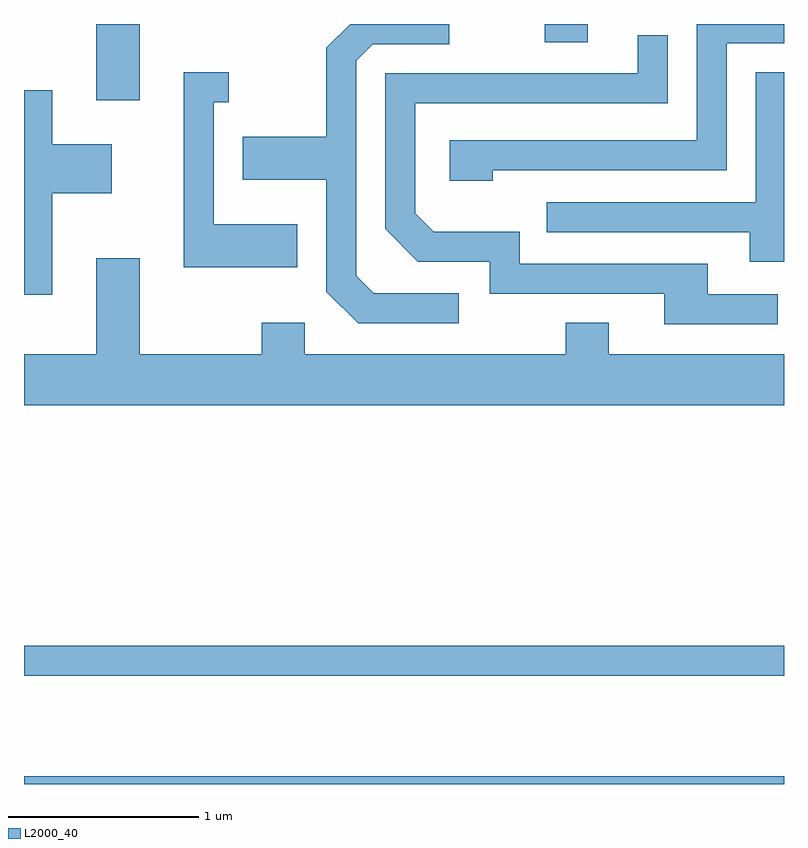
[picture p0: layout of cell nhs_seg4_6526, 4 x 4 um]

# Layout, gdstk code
import gdstk
lib = gdstk.Library(unit=1e-6, precision=1e-09)
def R(c, l, rs):  # rectangles x0, y0, x1, y1
    for r in rs: c.add(gdstk.rectangle(r[:2], r[2:], *l))
def P(c, l, *ps):  # polygons
    for p in ps: c.add(gdstk.Polygon(p, *l))
L2000_40 = (2000, 40)

nhs_seg4_6526 = lib.new_cell('nhs_seg4_6526')
R(nhs_seg4_6526, L2000_40, [(375.611,1385.982,379.611,1386.024), (375.611,1386.551,379.611,1386.709), (375.991,1389.581,376.219,1389.982), (378.351,1389.886,378.579,1389.982)])
P(nhs_seg4_6526, L2000_40, [(377.898,1388.564),(377.452,1388.564),(377.359,1388.657),(377.359,1389.789),(377.447,1389.876),(377.848,1389.876),(377.848,1389.982),(377.327,1389.982),(377.201,1389.857),(377.201,1389.389),(376.761,1389.389),(376.761,1389.161),(377.201,1389.161),(377.201,1388.574),(377.369,1388.406),(377.898,1388.406)],
  [(378.079,1389.211),(379.309,1389.211),(379.309,1389.881),(379.611,1389.881),(379.611,1389.982),(379.151,1389.982),(379.151,1389.369),(377.851,1389.369),(377.851,1389.156),(378.079,1389.156)],
  [(379.578,1388.559),(379.209,1388.559),(379.209,1388.719),(378.219,1388.719),(378.219,1388.889),(377.767,1388.889),(377.669,1388.987),(377.669,1389.566),(378.999,1389.566),(378.999,1389.923),(378.841,1389.923),(378.841,1389.724),(377.511,1389.724),(377.511,1388.904),(377.684,1388.731),(378.061,1388.731),(378.061,1388.561),(378.981,1388.561),(378.981,1388.401),(379.578,1388.401)],
  [(379.611,1389.729),(379.461,1389.729),(379.461,1389.044),(378.363,1389.044),(378.363,1388.886),(379.431,1388.886),(379.431,1388.731),(379.611,1388.731)],
  [(377.049,1388.929),(376.609,1388.929),(376.609,1389.571),(376.688,1389.571),(376.688,1389.729),(376.451,1389.729),(376.451,1388.701),(377.049,1388.701)],
  [(375.759,1389.091),(376.074,1389.091),(376.074,1389.349),(375.759,1389.349),(375.759,1389.634),(375.611,1389.634),(375.611,1388.556),(375.759,1388.556)],
  [(379.611,1388.244),(378.689,1388.244),(378.689,1388.409),(378.461,1388.409),(378.461,1388.244),(377.089,1388.244),(377.089,1388.409),(376.861,1388.409),(376.861,1388.244),(376.219,1388.244),(376.219,1388.749),(375.991,1388.749),(375.991,1388.244),(375.611,1388.244),(375.611,1387.976),(379.611,1387.976)])

lib.write_gds('nhs_seg4_6526.gds')
